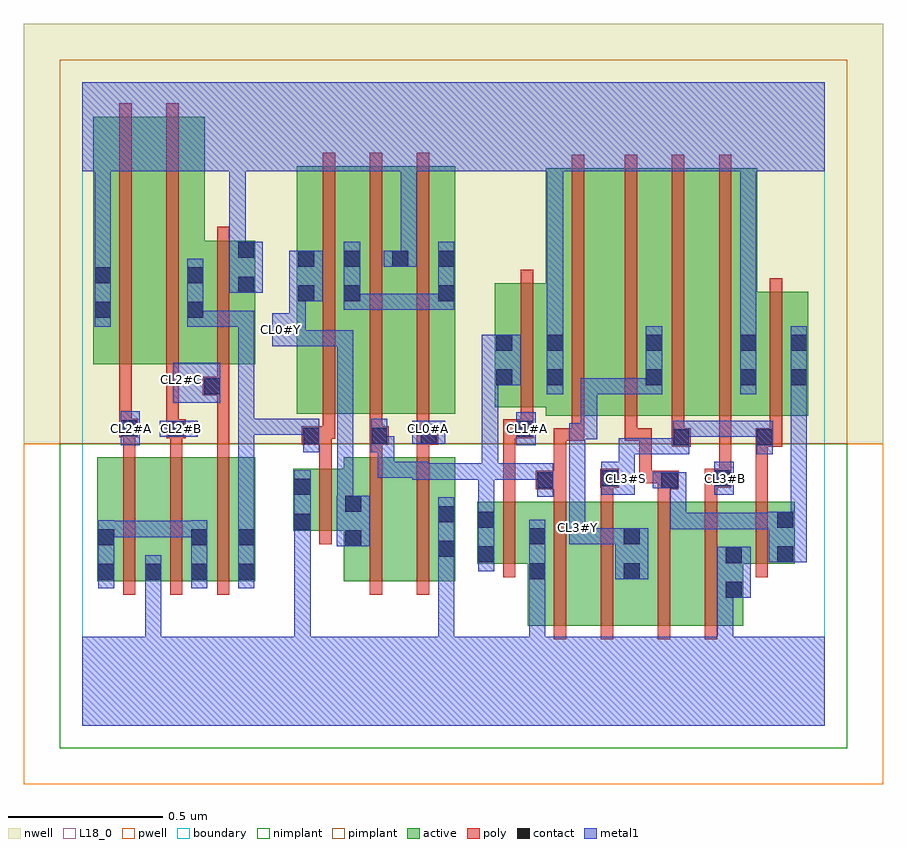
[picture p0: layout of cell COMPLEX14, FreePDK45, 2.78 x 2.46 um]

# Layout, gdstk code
import gdstk
lib = gdstk.Library(unit=1e-6, precision=1e-09)
def R(c, l, rs):  # rectangles x0, y0, x1, y1
    for r in rs: c.add(gdstk.rectangle(r[:2], r[2:], *l))
def A(c, l, x, y, w, h, nx, ny, dx, dy):  # array of equal rectangles
    R(c, l, [(x+i*dx, y+j*dy, x+i*dx+w, y+j*dy+h) for i in range(nx) for j in range(ny)])
active = (1, 0)
pwell = (2, 0)
nwell = (3, 0)
nimplant = (4, 0)
pimplant = (5, 0)
poly = (9, 0)
contact = (10, 0)
metal1 = (11, 0)
L18_0 = (18, 0)
boundary = (235, 0)

complex14 = lib.new_cell('COMPLEX14')
R(complex14, active, [(1.44,0.324,1.5,0.724), (1.44,0.324,1.62,0.724), (1.62,0.324,1.806,0.724), (1.746,0.324,1.956,0.724), (1.956,0.324,2.136,0.724), (2.076,0.324,2.136,0.724), (1.746,0.356,1.806,0.642), (0.048,0.468,0.108,0.868), (0.048,0.468,0.26,0.868), (0.2,0.468,0.408,0.868), (0.2,0.468,0.26,0.782), (0.348,0.468,0.408,0.868), (0.348,0.468,0.56,0.868), (0.5,0.468,0.56,0.868), (0.846,0.468,1.026,0.868), (1.026,0.468,1.206,0.868), (1.146,0.468,1.206,0.868), (1.276,0.524,1.336,0.724), (1.276,0.524,1.5,0.724), (2.076,0.524,2.302,0.724), (2.242,0.524,2.302,0.724), (0.846,0.576,0.906,0.748), (0.682,0.63,0.742,0.83), (0.682,0.63,0.906,0.83), (1.498,1.002,1.698,1.802), (1.698,1.002,1.878,1.802), (1.818,1.002,2.002,1.802), (1.818,1.002,1.878,1.724), (2.002,1.002,2.182,1.802), (2.122,1.002,2.346,1.402), (2.286,1.002,2.346,1.356), (0.694,1.008,0.754,1.724), (0.694,1.008,0.902,1.808), (0.842,1.008,1.058,1.808), (0.998,1.008,1.206,1.808), (1.146,1.008,1.206,1.724), (1.334,1.03,1.558,1.43), (1.334,1.03,1.394,1.356), (1.498,1.096,1.558,1.356), (2.122,1.096,2.182,1.356), (0.036,1.168,0.216,1.968), (0.036,1.168,0.096,1.756), (0.216,1.168,0.396,1.968), (0.336,1.168,0.56,1.568), (0.5,1.168,0.56,1.568), (0.842,1.206,0.902,1.724), (0.998,1.206,1.058,1.756), (0.336,1.314,0.396,1.724)])
R(complex14, pwell, [(-0.188,-0.188,2.588,0.912)])
R(complex14, nwell, [(-0.188,0.912,2.588,2.268)])
R(complex14, nimplant, [(-0.072,-0.072,2.472,0.912)])
R(complex14, pimplant, [(-0.072,0.912,2.472,2.152)])
A(complex14, poly, 0.132, 0.424, 0.04, 0.488, 3, 1, 0.152, 0)
A(complex14, poly, 1.754, 0.922, 0.04, 0.076, 3, 1, 0.152, 0)
A(complex14, poly, 0.778, 0.928, 0.04, 0.076, 3, 1, 0.152, 0)
A(complex14, poly, 1.754, 0.958, 0.04, 0.888, 3, 1, 0.152, 0)
A(complex14, poly, 0.778, 0.964, 0.04, 0.888, 3, 1, 0.152, 0)
R(complex14, poly, [(1.524,0.28,1.564,0.768), (1.676,0.28,1.716,0.768), (1.86,0.28,1.9,0.768), (2.012,0.28,2.052,0.768), (0.93,0.424,0.97,0.912), (1.082,0.424,1.122,0.912), (1.36,0.48,1.4,0.768), (2.176,0.48,2.216,0.768), (0.766,0.586,0.806,0.874), (1.36,0.728,1.4,0.97), (1.524,0.728,1.564,0.804), (1.676,0.728,1.716,0.81), (1.86,0.728,1.9,0.804), (2.012,0.728,2.052,0.81), (2.176,0.728,2.216,0.942), (1.466,0.764,1.564,0.824), (1.86,0.764,1.928,0.824), (1.674,0.77,1.734,0.83), (2.012,0.77,2.098,0.83), (1.524,0.784,1.564,0.962), (1.8,0.784,1.84,0.824), (1.8,0.784,1.9,0.824), (1.8,0.784,1.84,0.962), (2.058,0.79,2.098,0.962), (0.766,0.834,0.806,0.948), (0.132,0.872,0.172,0.972), (0.284,0.872,0.324,0.97), (0.436,0.872,0.476,1.108), (0.93,0.872,0.97,0.948), (1.082,0.872,1.122,0.948), (1.906,0.902,1.966,0.962), (2.176,0.902,2.216,0.942), (2.176,0.902,2.216,0.942), (2.176,0.902,2.262,0.962), (0.71,0.908,0.806,0.968), (0.93,0.908,0.99,0.968), (1.082,0.908,1.122,0.948), (1.082,0.908,1.122,0.948), (1.082,0.908,1.15,0.968), (1.524,0.922,1.622,0.962), (1.582,0.922,1.622,0.998), (1.754,0.922,1.794,0.962), (1.754,0.922,1.84,0.962), (1.8,0.922,1.84,0.962), (2.058,0.922,2.098,0.962), (2.222,0.922,2.262,0.998), (0.766,0.928,0.806,0.968), (0.766,0.928,0.818,0.968), (0.93,0.928,0.97,0.968), (0.93,0.928,0.97,0.968), (0.274,0.93,0.334,0.99), (1.36,0.93,1.4,0.97), (1.36,0.93,1.4,0.97), (1.36,0.93,1.458,0.99), (0.12,0.932,0.18,0.992), (0.272,0.95,0.312,1.164), (0.272,0.95,0.314,0.99), (0.274,0.95,0.314,0.99), (1.418,0.95,1.458,1.026), (0.12,0.952,0.16,0.992), (0.12,0.952,0.16,0.992), (0.12,0.952,0.16,1.164), (1.582,0.958,1.622,1.846), (2.222,0.958,2.262,1.446), (1.418,0.986,1.458,1.474), (0.39,1.068,0.476,1.128), (0.436,1.068,0.476,1.108), (0.436,1.068,0.476,1.108), (0.436,1.088,0.476,1.164), (0.12,1.124,0.16,2.012), (0.272,1.124,0.312,2.012), (0.436,1.124,0.476,1.612)])
R(complex14, contact, [(2.08,0.414,2.132,0.466), (0.052,0.472,0.104,0.524), (0.204,0.472,0.256,0.524), (0.352,0.472,0.404,0.524), (0.504,0.472,0.556,0.524), (1.444,0.474,1.496,0.526), (1.75,0.474,1.802,0.526), (2.08,0.526,2.132,0.578), (1.28,0.528,1.332,0.58), (2.246,0.528,2.298,0.58), (1.15,0.546,1.202,0.598), (0.85,0.58,0.902,0.632), (0.052,0.584,0.104,0.636), (0.352,0.584,0.404,0.636), (0.504,0.584,0.556,0.636), (1.444,0.586,1.496,0.638), (1.75,0.586,1.802,0.638), (0.686,0.634,0.738,0.686), (1.28,0.64,1.332,0.692), (2.246,0.64,2.298,0.692), (1.15,0.658,1.202,0.71), (0.85,0.692,0.902,0.744), (0.686,0.746,0.738,0.798), (1.47,0.768,1.522,0.82), (1.872,0.768,1.924,0.82), (1.678,0.774,1.73,0.826), (2.042,0.774,2.094,0.826), (1.91,0.906,1.962,0.958), (2.18,0.906,2.232,0.958), (0.714,0.912,0.766,0.964), (0.934,0.912,0.986,0.964), (1.094,0.912,1.146,0.964), (0.278,0.934,0.33,0.986), (1.402,0.934,1.454,0.986), (0.124,0.936,0.176,0.988), (0.394,1.072,0.446,1.124), (1.338,1.1,1.39,1.152), (1.502,1.1,1.554,1.152), (1.822,1.1,1.874,1.152), (2.126,1.1,2.178,1.152), (2.29,1.1,2.342,1.152), (1.338,1.212,1.39,1.264), (1.502,1.212,1.554,1.264), (1.822,1.212,1.874,1.264), (2.126,1.212,2.178,1.264), (2.29,1.212,2.342,1.264), (0.04,1.318,0.092,1.37), (0.34,1.318,0.392,1.37), (0.698,1.372,0.75,1.424), (0.846,1.372,0.898,1.424), (1.15,1.372,1.202,1.424), (0.504,1.4,0.556,1.452), (0.04,1.43,0.092,1.482), (0.34,1.43,0.392,1.482), (0.698,1.484,0.75,1.536), (0.846,1.484,0.898,1.536), (1.002,1.484,1.054,1.536), (1.15,1.484,1.202,1.536), (0.504,1.512,0.556,1.564)])
R(complex14, metal1, [(0,0,2.4,0.288), (0.204,0.236,0.256,0.496), (0.686,0.236,0.738,0.288), (0.686,0.236,0.738,0.288), (0.686,0.236,0.738,0.288), (0.686,0.236,0.738,0.288), (0.686,0.236,0.738,0.288), (0.686,0.236,0.738,0.288), (0.686,0.236,0.738,0.658), (1.15,0.236,1.202,0.288), (1.15,0.236,1.202,0.288), (1.15,0.236,1.202,0.57), (1.444,0.236,1.496,0.498), (2.052,0.236,2.104,0.466), (2.052,0.414,2.104,0.466), (2.052,0.414,2.104,0.466), (2.052,0.414,2.16,0.578), (0.052,0.444,0.104,0.664), (0.204,0.444,0.256,0.496), (0.204,0.444,0.256,0.496), (0.204,0.444,0.256,0.552), (0.352,0.444,0.404,0.664), (0.504,0.444,0.556,0.664), (1.444,0.446,1.496,0.498), (1.444,0.446,1.496,0.498), (1.444,0.446,1.496,0.666), (1.722,0.474,1.83,0.638), (1.28,0.5,1.332,0.72), (1.15,0.518,1.202,0.738), (2.218,0.528,2.342,0.692), (0.822,0.58,0.93,0.744), (1.574,0.586,1.626,0.638), (1.574,0.586,1.626,0.638), (1.574,0.586,1.626,0.694), (1.574,0.586,1.774,0.638), (1.722,0.586,1.774,0.638), (1.722,0.586,1.774,0.638), (0.686,0.606,0.738,0.826), (0.052,0.61,0.104,0.662), (0.052,0.61,0.104,0.662), (0.052,0.61,0.236,0.662), (0.184,0.61,0.236,0.662), (0.184,0.61,0.236,0.662), (0.184,0.61,0.236,0.662), (0.184,0.61,0.404,0.662), (0.504,0.612,0.556,0.992), (1.9,0.636,1.952,0.688), (1.9,0.636,2.122,0.688), (1.9,0.636,1.952,0.82), (2.07,0.636,2.122,0.688), (2.07,0.636,2.122,0.688), (2.07,0.636,2.122,0.688), (2.07,0.636,2.27,0.688), (2.218,0.636,2.27,0.688), (2.218,0.636,2.27,0.688), (2.29,0.64,2.342,1.124), (1.574,0.642,1.626,0.978), (1.28,0.668,1.332,0.848), (0.824,0.692,0.876,1.278), (1.47,0.74,1.522,0.848), (1.678,0.746,1.786,0.854), (2.042,0.746,2.106,0.854), (1.844,0.768,1.952,0.82), (1.9,0.768,1.952,0.82), (1.9,0.768,1.952,0.82), (1.066,0.796,1.332,0.848), (1.066,0.796,1.118,0.854), (1.28,0.796,1.344,0.848), (1.292,0.796,1.344,0.848), (1.292,0.796,1.344,0.848), (1.292,0.796,1.516,0.848), (1.292,0.796,1.344,1.152), (1.464,0.796,1.516,0.848), (1.464,0.796,1.522,0.848), (0.956,0.802,1.118,0.854), (0.956,0.802,1.008,0.936), (1.066,0.802,1.118,0.854), (1.066,0.802,1.118,0.854), (1.734,0.802,1.786,0.854), (1.734,0.802,1.786,0.854), (1.734,0.802,1.786,0.93), (1.734,0.878,1.786,0.93), (1.734,0.878,1.962,0.93), (1.91,0.878,1.962,0.986), (2.18,0.878,2.232,0.986), (0.714,0.884,0.766,0.992), (0.934,0.884,0.986,0.992), (0.934,0.884,1.008,0.936), (0.124,0.906,0.186,1.016), (1.402,0.906,1.466,1.014), (1.066,0.912,1.174,0.986), (1.574,0.926,1.664,0.978), (1.612,0.926,1.664,1.124), (0.25,0.934,0.374,0.986), (1.91,0.934,1.962,0.986), (1.91,0.934,1.962,0.986), (1.91,0.934,2.122,0.986), (2.07,0.934,2.122,0.986), (2.07,0.934,2.122,0.986), (2.07,0.934,2.122,0.986), (2.07,0.934,2.232,0.986), (0.504,0.94,0.556,0.992), (0.504,0.94,0.556,0.992), (0.504,0.94,0.556,0.992), (0.504,0.94,0.766,0.992), (0.504,0.94,0.556,1.342), (0.294,1.044,0.446,1.174), (1.502,1.072,1.554,1.292), (1.612,1.072,1.664,1.124), (1.612,1.072,1.664,1.124), (1.612,1.072,1.664,1.124), (1.612,1.072,1.874,1.124), (1.822,1.072,1.874,1.292), (2.126,1.072,2.178,1.292), (2.29,1.072,2.342,1.124), (2.29,1.072,2.342,1.124), (2.29,1.072,2.342,1.124), (2.29,1.072,2.342,1.124), (2.29,1.072,2.342,1.292), (1.292,1.1,1.344,1.152), (1.292,1.1,1.344,1.152), (1.292,1.1,1.418,1.264), (0.614,1.226,0.722,1.334), (0.67,1.226,0.722,1.278), (0.67,1.226,0.722,1.278), (0.67,1.226,0.876,1.278), (0.824,1.226,0.876,1.278), (0.824,1.226,0.876,1.278), (0.824,1.226,0.876,1.278), (1.502,1.24,1.554,1.844), (2.126,1.24,2.178,1.844), (0.67,1.282,0.722,1.424), (0.04,1.29,0.092,1.51), (0.34,1.29,0.392,1.342), (0.34,1.29,0.392,1.342), (0.34,1.29,0.392,1.51), (0.34,1.29,0.556,1.342), (0.504,1.29,0.556,1.342), (0.504,1.29,0.556,1.342), (0.504,1.29,0.556,1.342), (0.846,1.344,0.898,1.396), (0.846,1.344,0.898,1.396), (0.846,1.344,0.898,1.564), (0.846,1.344,1.008,1.396), (0.956,1.344,1.008,1.396), (0.956,1.344,1.202,1.396), (1.15,1.344,1.202,1.396), (1.15,1.344,1.202,1.396), (1.15,1.344,1.202,1.564), (0.67,1.372,0.778,1.536), (0.476,1.4,0.584,1.564), (0.04,1.458,0.092,1.844), (0.974,1.484,1.082,1.536), (1.03,1.484,1.082,1.844), (0.476,1.512,0.528,1.844), (0,1.792,2.4,2.08), (0.476,1.792,0.528,1.844), (0.476,1.792,0.528,1.844), (0.476,1.792,0.528,1.844), (0.476,1.792,0.528,1.844), (0.476,1.792,0.528,1.844), (0.476,1.792,0.528,1.844), (0.476,1.792,0.528,1.844), (0.476,1.792,0.528,1.844)])
R(complex14, L18_0, [(0,0,2.4,0.288), (0.204,0.236,0.256,0.496), (0.686,0.236,0.738,0.288), (0.686,0.236,0.738,0.288), (0.686,0.236,0.738,0.288), (0.686,0.236,0.738,0.288), (0.686,0.236,0.738,0.288), (0.686,0.236,0.738,0.288), (0.686,0.236,0.738,0.658), (1.15,0.236,1.202,0.288), (1.15,0.236,1.202,0.288), (1.15,0.236,1.202,0.57), (1.444,0.236,1.496,0.498), (2.052,0.236,2.104,0.466), (2.052,0.414,2.104,0.466), (2.052,0.414,2.104,0.466), (2.052,0.414,2.16,0.578), (0.204,0.444,0.256,0.496), (0.204,0.444,0.256,0.496), (0.204,0.444,0.256,0.552), (1.444,0.446,1.496,0.666), (1.444,0.446,1.496,0.498), (1.444,0.446,1.496,0.498), (1.722,0.474,1.83,0.638), (1.15,0.518,1.202,0.738), (0.822,0.58,0.93,0.744), (1.574,0.586,1.626,0.638), (1.574,0.586,1.626,0.638), (1.574,0.586,1.626,0.694), (1.574,0.586,1.774,0.638), (1.722,0.586,1.774,0.638), (1.722,0.586,1.774,0.638), (0.686,0.606,0.738,0.826), (1.574,0.614,1.626,0.666), (1.574,0.642,1.626,0.978), (0.824,0.692,0.876,1.278), (1.678,0.746,1.786,0.854), (2.042,0.746,2.106,0.854), (1.734,0.774,1.786,0.826), (2.054,0.774,2.106,0.826), (1.734,0.802,1.786,0.854), (1.734,0.802,1.786,0.854), (1.734,0.802,1.786,0.93), (1.734,0.878,1.786,0.93), (1.734,0.878,1.962,0.93), (1.91,0.878,1.962,0.986), (2.18,0.878,2.232,0.986), (0.124,0.906,0.186,1.016), (1.402,0.906,1.466,1.014), (1.066,0.912,1.174,0.986), (1.574,0.926,1.664,0.978), (1.612,0.926,1.664,1.124), (0.134,0.934,0.186,0.986), (0.25,0.934,0.374,0.986), (0.294,0.934,0.346,0.986), (1.094,0.934,1.146,0.986), (1.414,0.934,1.466,0.986), (1.91,0.934,1.962,0.986), (1.91,0.934,1.962,0.986), (1.91,0.934,2.122,0.986), (2.07,0.934,2.122,0.986), (2.07,0.934,2.122,0.986), (2.07,0.934,2.122,0.986), (2.07,0.934,2.232,0.986), (0.294,1.044,0.446,1.174), (1.502,1.072,1.554,1.292), (1.612,1.072,1.664,1.124), (1.612,1.072,1.664,1.124), (1.612,1.072,1.664,1.124), (1.612,1.072,1.874,1.124), (1.822,1.072,1.874,1.292), (2.126,1.072,2.178,1.292), (0.294,1.094,0.346,1.146), (0.614,1.226,0.722,1.334), (0.67,1.226,0.722,1.278), (0.67,1.226,0.722,1.278), (0.67,1.226,0.876,1.278), (0.824,1.226,0.876,1.278), (0.824,1.226,0.876,1.278), (0.824,1.226,0.876,1.278), (1.502,1.24,1.554,1.844), (2.126,1.24,2.178,1.844), (0.614,1.254,0.666,1.306), (0.67,1.282,0.722,1.424), (0.04,1.29,0.092,1.51), (0.67,1.372,0.778,1.536), (0.476,1.4,0.584,1.564), (0.04,1.458,0.092,1.844), (0.974,1.484,1.082,1.536), (1.03,1.484,1.082,1.844), (0.476,1.512,0.528,1.844), (0,1.792,2.4,2.08), (0.476,1.792,0.528,1.844), (0.476,1.792,0.528,1.844), (0.476,1.792,0.528,1.844), (0.476,1.792,0.528,1.844), (0.476,1.792,0.528,1.844), (0.476,1.792,0.528,1.844), (0.476,1.792,0.528,1.844), (0.476,1.792,0.528,1.844)])
R(complex14, boundary, [(0,0,2.4,2.08)])
complex14.add(gdstk.Label('CL0#A', (1.12,0.96), layer=11, texttype=0))
complex14.add(gdstk.Label('CL0#Y', (0.64,1.28), layer=11, texttype=0))
complex14.add(gdstk.Label('CL1#A', (1.44,0.96), layer=11, texttype=0))
complex14.add(gdstk.Label('CL2#A', (0.16,0.96), layer=11, texttype=0))
complex14.add(gdstk.Label('CL2#B', (0.32,0.96), layer=11, texttype=0))
complex14.add(gdstk.Label('CL2#C', (0.32,1.12), layer=11, texttype=0))
complex14.add(gdstk.Label('CL3#B', (2.08,0.8), layer=11, texttype=0))
complex14.add(gdstk.Label('CL3#S', (1.76,0.8), layer=11, texttype=0))
complex14.add(gdstk.Label('CL3#Y', (1.6,0.64), layer=11, texttype=0))

lib.write_gds('COMPLEX14.gds')
